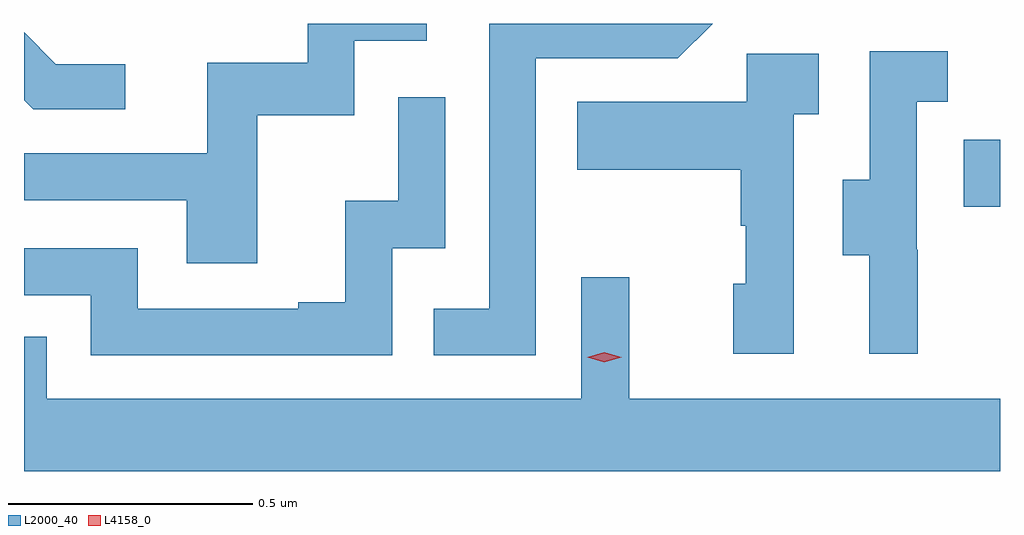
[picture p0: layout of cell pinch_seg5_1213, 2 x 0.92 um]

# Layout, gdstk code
import gdstk
lib = gdstk.Library(unit=1e-6, precision=1e-09)
def R(c, l, rs):  # rectangles x0, y0, x1, y1
    for r in rs: c.add(gdstk.rectangle(r[:2], r[2:], *l))
def P(c, l, *ps):  # polygons
    for p in ps: c.add(gdstk.Polygon(p, *l))
L2000_40 = (2000, 40)
L4158_0 = (4158, 0)

pinch_seg5_1213 = lib.new_cell('pinch_seg5_1213')
R(pinch_seg5_1213, L2000_40, [(868.297,833.342,868.371,833.479)])
P(pinch_seg5_1213, L2000_40, [(866.849,833.529),(867.048,833.529),(867.048,833.682),(867.196,833.682),(867.196,833.717),(866.952,833.717),(866.952,833.637),(866.747,833.637),(866.747,833.451),(866.371,833.451),(866.371,833.355),(866.705,833.355),(866.705,833.226),(866.849,833.226)],
  [(867.42,833.646),(867.711,833.646),(867.782,833.717),(867.324,833.717),(867.324,833.133),(867.211,833.133),(867.211,833.037),(867.42,833.037)],
  [(866.578,833.634),(866.436,833.634),(866.371,833.699),(866.371,833.56),(866.39,833.541),(866.578,833.541)],
  [(868.202,833.253),(868.2,833.253),(868.2,833.557),(868.264,833.557),(868.264,833.66),(868.104,833.66),(868.104,833.397),(868.049,833.397),(868.049,833.242),(868.103,833.242),(868.103,833.04),(868.202,833.04)],
  [(867.948,833.531),(868,833.531),(868,833.655),(867.852,833.655),(867.852,833.557),(867.505,833.557),(867.505,833.417),(867.84,833.417),(867.84,833.303),(867.85,833.303),(867.85,833.184),(867.824,833.184),(867.824,833.04),(867.948,833.04)],
  [(867.126,833.256),(867.234,833.256),(867.234,833.566),(867.138,833.566),(867.138,833.354),(867.029,833.354),(867.029,833.146),(866.933,833.146),(866.933,833.133),(866.604,833.133),(866.604,833.256),(866.371,833.256),(866.371,833.16),(866.508,833.16),(866.508,833.037),(867.126,833.037)],
  [(868.371,832.948),(867.611,832.948),(867.611,833.197),(867.513,833.197),(867.513,832.948),(866.418,832.948),(866.418,833.075),(866.371,833.075),(866.371,832.799),(868.371,832.799)])
P(pinch_seg5_1213, L4158_0, [(867.56,833.023),(867.525,833.033),(867.525,833.033),(867.525,833.033),(867.56,833.043),(867.596,833.033),(867.596,833.033),(867.596,833.033)])

lib.write_gds('pinch_seg5_1213.gds')
